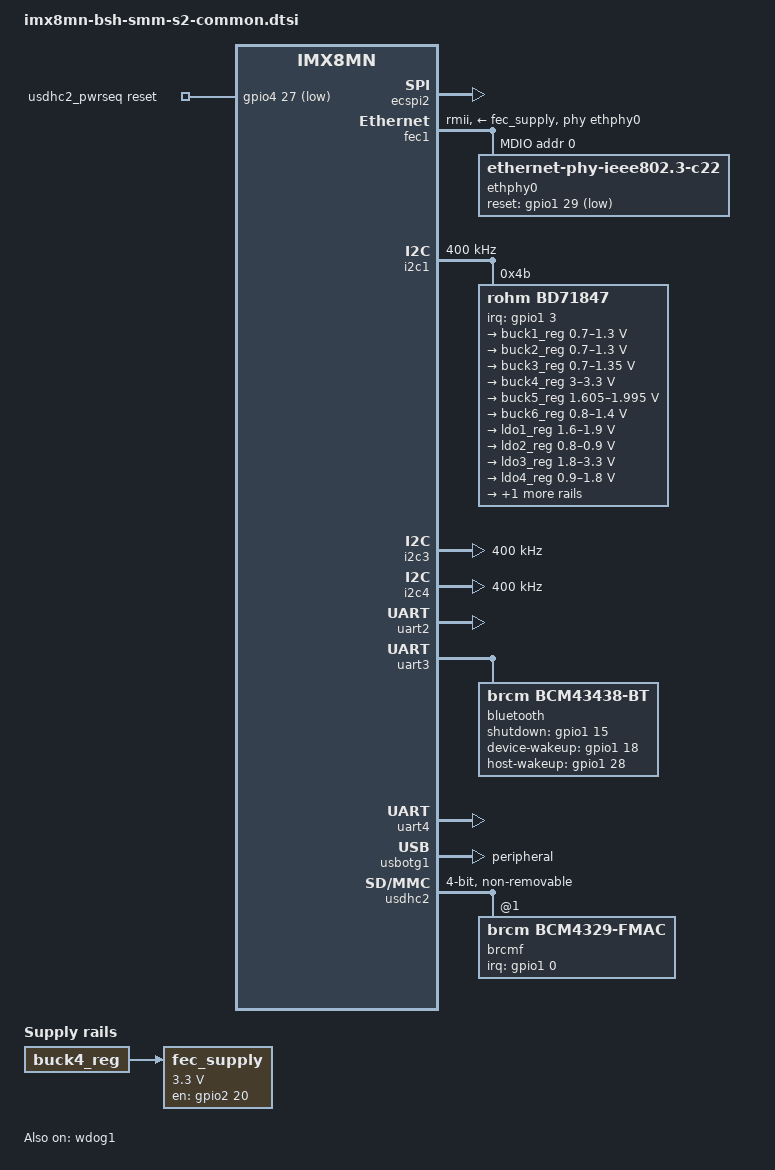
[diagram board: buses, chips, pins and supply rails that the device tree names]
// SPDX-License-Identifier: GPL-2.0+
/*
 * Copyright 2021 Collabora Ltd.
 * Copyright 2021 BSH Hausgeraete GmbH
 */

/dts-v1/;

#include "imx8mn.dtsi"

/ {
	chosen {
		stdout-path = &uart4;
	};

	fec_supply: fec-supply-en {
		compatible = "regulator-fixed";
		vin-supply = <&buck4_reg>;
		regulator-name = "tja1101_en";
		regulator-min-microvolt = <3300000>;
		regulator-max-microvolt = <3300000>;
		gpio = <&gpio2 20 GPIO_ACTIVE_HIGH>;
		enable-active-high;
	};

	usdhc2_pwrseq: usdhc2-pwrseq {
		compatible = "mmc-pwrseq-simple";
		pinctrl-names = "default";
		pinctrl-0 = <&pinctrl_usdhc2_pwrseq>;
		reset-gpios = <&gpio4 27 GPIO_ACTIVE_LOW>;
	};
};

&A53_0 {
	cpu-supply = <&buck2_reg>;
};

&A53_1 {
	cpu-supply = <&buck2_reg>;
};

&A53_2 {
	cpu-supply = <&buck2_reg>;
};

&A53_3 {
	cpu-supply = <&buck2_reg>;
};

&ecspi2 {
	pinctrl-names = "default";
	pinctrl-0 = <&pinctrl_espi2>;
	status = "okay";
};

&fec1 {
	pinctrl-names = "default";
	pinctrl-0 = <&pinctrl_fec1>;
	phy-mode = "rmii";
	phy-handle = <&ethphy0>;
	phy-supply = <&fec_supply>;
	fsl,magic-packet;
	status = "okay";

	mdio {
		#address-cells = <1>;
		#size-cells = <0>;

		ethphy0: ethernet-phy@0 {
			compatible = "ethernet-phy-ieee802.3-c22";
			reg = <0>;
			reset-gpios = <&gpio1 29 GPIO_ACTIVE_LOW>;
			reset-assert-us = <20>;
			reset-deassert-us = <2000>;
		};
	};
};

&i2c1 {
	clock-frequency = <400000>;
	pinctrl-names = "default";
	pinctrl-0 = <&pinctrl_i2c1>;
	status = "okay";

	bd71847: pmic@4b {
		compatible = "rohm,bd71847";
		reg = <0x4b>;
		pinctrl-names = "default";
		pinctrl-0 = <&pinctrl_pmic>;
		interrupt-parent = <&gpio1>;
		interrupts = <3 IRQ_TYPE_LEVEL_LOW>;
		rohm,reset-snvs-powered;

		#clock-cells = <0>;
		clocks = <&osc_32k 0>;
		clock-output-names = "clk-32k-out";

		regulators {
			buck1_reg: BUCK1 {
				/* PMIC_BUCK1 - VDD_SOC */
				regulator-name = "buck1";
				regulator-min-microvolt = <700000>;
				regulator-max-microvolt = <1300000>;
				regulator-boot-on;
				regulator-always-on;
				regulator-ramp-delay = <1250>;
			};

			buck2_reg: BUCK2 {
				/* PMIC_BUCK2 - VDD_ARM */
				regulator-name = "buck2";
				regulator-min-microvolt = <700000>;
				regulator-max-microvolt = <1300000>;
				regulator-boot-on;
				regulator-always-on;
				regulator-ramp-delay = <1250>;
			};

			buck3_reg: BUCK3 {
				/* PMIC_BUCK5 - VDD_DRAM_VPU_GPU */
				regulator-name = "buck3";
				regulator-min-microvolt = <700000>;
				regulator-max-microvolt = <1350000>;
				regulator-boot-on;
				regulator-always-on;
			};

			buck4_reg: BUCK4 {
				/* PMIC_BUCK6 - VDD_3V3 */
				regulator-name = "buck4";
				regulator-min-microvolt = <3000000>;
				regulator-max-microvolt = <3300000>;
				regulator-boot-on;
				regulator-always-on;
			};

			buck5_reg: BUCK5 {
				/* PMIC_BUCK7 - VDD_1V8 */
				regulator-name = "buck5";
				regulator-min-microvolt = <1605000>;
				regulator-max-microvolt = <1995000>;
				regulator-boot-on;
				regulator-always-on;
			};

			buck6_reg: BUCK6 {
				/* PMIC_BUCK8 - NVCC_DRAM */
				regulator-name = "buck6";
				regulator-min-microvolt = <800000>;
				regulator-max-microvolt = <1400000>;
				regulator-boot-on;
				regulator-always-on;
			};

			ldo1_reg: LDO1 {
				/* PMIC_LDO1 - NVCC_SNVS_1V8 */
				regulator-name = "ldo1";
				regulator-min-microvolt = <1600000>;
				regulator-max-microvolt = <1900000>;
				regulator-boot-on;
				regulator-always-on;
			};

			ldo2_reg: LDO2 {
				/* PMIC_LDO2 - VDD_SNVS_0V8 */
				regulator-name = "ldo2";
				regulator-min-microvolt = <800000>;
				regulator-max-microvolt = <900000>;
				regulator-boot-on;
				regulator-always-on;
			};

			ldo3_reg: LDO3 {
				/* PMIC_LDO3 - VDDA_1V8 */
				regulator-name = "ldo3";
				regulator-min-microvolt = <1800000>;
				regulator-max-microvolt = <3300000>;
				regulator-boot-on;
				regulator-always-on;
			};

			ldo4_reg: LDO4 {
				/* PMIC_LDO4 - VDD_MIPI_0V9 */
				regulator-name = "ldo4";
				regulator-min-microvolt = <900000>;
				regulator-max-microvolt = <1800000>;
				regulator-boot-on;
				regulator-always-on;
			};

			ldo6_reg: LDO6 {
				/* PMIC_LDO6 - VDD_MIPI_1V2 */
				regulator-name = "ldo6";
				regulator-min-microvolt = <900000>;
				regulator-max-microvolt = <1800000>;
				regulator-boot-on;
				regulator-always-on;
			};
		};
	};
};

&i2c3 {
	clock-frequency = <400000>;
	pinctrl-names = "default";
	pinctrl-0 = <&pinctrl_i2c3>;
	status = "okay";
};

&i2c4 {
	clock-frequency = <400000>;
	pinctrl-names = "default";
	pinctrl-0 = <&pinctrl_i2c4>;
	status = "okay";
};

&uart2 {
	pinctrl-names = "default";
	pinctrl-0 = <&pinctrl_uart2>;
	status = "okay";
};

&uart3 {
	pinctrl-names = "default";
	pinctrl-0 = <&pinctrl_uart3>;
	assigned-clocks = <&clk IMX8MN_CLK_UART3>;
	assigned-clock-parents = <&clk IMX8MN_SYS_PLL1_80M>;
	uart-has-rtscts;
	status = "okay";

	bluetooth {
		compatible = "brcm,bcm43438-bt";
		pinctrl-names = "default";
		pinctrl-0 = <&pinctrl_bluetooth>;
		shutdown-gpios = <&gpio1 15 GPIO_ACTIVE_HIGH>;
		device-wakeup-gpios = <&gpio1 18 GPIO_ACTIVE_HIGH>;
		host-wakeup-gpios = <&gpio1 28 GPIO_ACTIVE_HIGH>;
		max-speed = <3000000>;
	};
};

/* Console */
&uart4 {
	pinctrl-names = "default";
	pinctrl-0 = <&pinctrl_uart4>;
	status = "okay";
};

&usbotg1 {
	dr_mode = "peripheral";
	disable-over-current;
	status = "okay";
};

&usdhc2 {
	#address-cells = <1>;
	#size-cells = <0>;
	pinctrl-names = "default", "state_100mhz", "state_200mhz";
	pinctrl-0 = <&pinctrl_usdhc2>;
	pinctrl-1 = <&pinctrl_usdhc2_100mhz>;
	pinctrl-2 = <&pinctrl_usdhc2_200mhz>;
	mmc-pwrseq = <&usdhc2_pwrseq>;
	bus-width = <4>;
	non-removable;
	status = "okay";

	brcmf: bcrmf@1 {
		compatible = "brcm,bcm4329-fmac";
		reg = <1>;
		pinctrl-names = "default";
		pinctrl-0 = <&pinctrl_wlan>;
		interrupt-parent = <&gpio1>;
		interrupts = <0 IRQ_TYPE_LEVEL_HIGH>;
		interrupt-names = "host-wake";
	};
};

&wdog1 {
	pinctrl-names = "default";
	pinctrl-0 = <&pinctrl_wdog>;
	fsl,ext-reset-output;
	status = "okay";
};

&iomuxc {
	pinctrl_bluetooth: bluetoothgrp {
		fsl,pins = <
			MX8MN_IOMUXC_GPIO1_IO15_GPIO1_IO15		0x044	/* BT_REG_ON */
			MX8MN_IOMUXC_ENET_TD3_GPIO1_IO18		0x046	/* BT_DEV_WAKE */
			MX8MN_IOMUXC_ENET_RD2_GPIO1_IO28		0x090	/* BT_HOST_WAKE */
		>;
	};

	pinctrl_espi2: espi2grp {
		fsl,pins = <
			MX8MN_IOMUXC_ECSPI2_SCLK_ECSPI2_SCLK		0x082
			MX8MN_IOMUXC_ECSPI2_MOSI_ECSPI2_MOSI		0x082
			MX8MN_IOMUXC_ECSPI2_MISO_ECSPI2_MISO		0x082
			MX8MN_IOMUXC_ECSPI2_SS0_ECSPI2_SS0		0x040
		>;
	};

	pinctrl_fec1: fec1grp {
		fsl,pins = <
			MX8MN_IOMUXC_ENET_MDC_ENET1_MDC			0x002
			MX8MN_IOMUXC_ENET_MDIO_ENET1_MDIO		0x002
			MX8MN_IOMUXC_ENET_RD0_ENET1_RGMII_RD0		0x090
			MX8MN_IOMUXC_ENET_RD1_ENET1_RGMII_RD1		0x090
			MX8MN_IOMUXC_ENET_RXC_ENET1_RX_ER		0x090
			MX8MN_IOMUXC_ENET_TD0_ENET1_RGMII_TD0		0x016
			MX8MN_IOMUXC_ENET_TD1_ENET1_RGMII_TD1		0x016
			MX8MN_IOMUXC_ENET_TD2_ENET1_TX_CLK		0x016
			MX8MN_IOMUXC_ENET_TX_CTL_ENET1_RGMII_TX_CTL	0x016
			MX8MN_IOMUXC_ENET_RX_CTL_ENET1_RGMII_RX_CTL	0x090
			MX8MN_IOMUXC_ENET_TXC_ENET1_TX_ER		0x016
			MX8MN_IOMUXC_SD2_CD_B_GPIO2_IO12		0x150	/* RMII_INT - ENET_INT */
			MX8MN_IOMUXC_SD2_WP_GPIO2_IO20			0x150	/* RMII_EN - ENET_EN */
			MX8MN_IOMUXC_SD2_RESET_B_GPIO2_IO19		0x016	/* RMII_WAKE - GPIO_ENET_WAKE */
			MX8MN_IOMUXC_ENET_RD3_GPIO1_IO29		0x016	/* RMII_RESET - GPIO_ENET_RST */
		>;
	};

	pinctrl_i2c1: i2c1grp {
		fsl,pins = <
			MX8MN_IOMUXC_I2C1_SCL_I2C1_SCL			0x400000c2
			MX8MN_IOMUXC_I2C1_SDA_I2C1_SDA			0x400000c2
		>;
	};

	pinctrl_i2c3: i2c3grp {
		fsl,pins = <
			MX8MN_IOMUXC_I2C3_SCL_I2C3_SCL			0x400000c2
			MX8MN_IOMUXC_I2C3_SDA_I2C3_SDA			0x400000c2
		>;
	};

	pinctrl_i2c4: i2c4grp {
		fsl,pins = <
			MX8MN_IOMUXC_I2C4_SCL_I2C4_SCL			0x400000c2
			MX8MN_IOMUXC_I2C4_SDA_I2C4_SDA			0x400000c2
		>;
	};

	pinctrl_pmic: pmicirq {
		fsl,pins = <
			MX8MN_IOMUXC_GPIO1_IO03_GPIO1_IO3		0x040
		>;
	};

	pinctrl_uart2: uart2grp {
		fsl,pins = <
			MX8MN_IOMUXC_UART2_RXD_UART2_DCE_RX		0x040
			MX8MN_IOMUXC_UART2_TXD_UART2_DCE_TX		0x040
		>;
	};

	pinctrl_uart3: uart3grp {
		fsl,pins = <
			MX8MN_IOMUXC_UART3_TXD_UART3_DCE_TX		0x040
			MX8MN_IOMUXC_UART3_RXD_UART3_DCE_RX		0x040
			MX8MN_IOMUXC_ECSPI1_MISO_UART3_DCE_CTS_B	0x040
			MX8MN_IOMUXC_ECSPI1_SS0_UART3_DCE_RTS_B		0x040
		>;
	};

	pinctrl_uart4: uart4grp {
		fsl,pins = <
			MX8MN_IOMUXC_UART4_RXD_UART4_DCE_RX		0x040
			MX8MN_IOMUXC_UART4_TXD_UART4_DCE_TX		0x040
		>;
	};

	pinctrl_usdhc2: usdhc2grp {
		fsl,pins = <
			MX8MN_IOMUXC_SD2_CLK_USDHC2_CLK			0x090
			MX8MN_IOMUXC_SD2_CMD_USDHC2_CMD			0x0d0
			MX8MN_IOMUXC_SD2_DATA0_USDHC2_DATA0		0x0d0
			MX8MN_IOMUXC_SD2_DATA1_USDHC2_DATA1		0x0d0
			MX8MN_IOMUXC_SD2_DATA2_USDHC2_DATA2		0x0d0
			MX8MN_IOMUXC_SD2_DATA3_USDHC2_DATA3		0x0d0
		>;
	};

	pinctrl_usdhc2_100mhz: usdhc2grp100mhz {
		fsl,pins = <
			MX8MN_IOMUXC_SD2_CLK_USDHC2_CLK			0x094
			MX8MN_IOMUXC_SD2_CMD_USDHC2_CMD			0x0d4
			MX8MN_IOMUXC_SD2_DATA0_USDHC2_DATA0		0x0d4
			MX8MN_IOMUXC_SD2_DATA1_USDHC2_DATA1		0x0d4
			MX8MN_IOMUXC_SD2_DATA2_USDHC2_DATA2		0x0d4
			MX8MN_IOMUXC_SD2_DATA3_USDHC2_DATA3		0x0d4
		>;
	};

	pinctrl_usdhc2_200mhz: usdhc2grp200mhz {
		fsl,pins = <
			MX8MN_IOMUXC_SD2_CLK_USDHC2_CLK			0x096
			MX8MN_IOMUXC_SD2_CMD_USDHC2_CMD			0x0d6
			MX8MN_IOMUXC_SD2_DATA0_USDHC2_DATA0		0x0d6
			MX8MN_IOMUXC_SD2_DATA1_USDHC2_DATA1		0x0d6
			MX8MN_IOMUXC_SD2_DATA2_USDHC2_DATA2		0x0d6
			MX8MN_IOMUXC_SD2_DATA3_USDHC2_DATA3		0x0d6
		>;
	};

	pinctrl_usdhc2_pwrseq: usdhc2pwrseqgrp {
		fsl,pins = <
			MX8MN_IOMUXC_SAI2_MCLK_GPIO4_IO27		0x040	/* WL_REG_ON */
		>;
	};

	pinctrl_wdog: wdoggrp {
		fsl,pins = <
			MX8MN_IOMUXC_GPIO1_IO02_WDOG1_WDOG_B		0x046
		>;
	};

	pinctrl_wlan: wlangrp {
		fsl,pins = <
			MX8MN_IOMUXC_GPIO1_IO00_GPIO1_IO0		0x0d6	/* GPIO_0 - WIFI_GPIO_0 */
			MX8MN_IOMUXC_GPIO1_IO08_GPIO1_IO8		0x0d6	/* GPIO_1 - WIFI_GPIO_1 */
			MX8MN_IOMUXC_GPIO1_IO04_GPIO1_IO4		0x0d6	/* BT_GPIO_5 - WIFI_GPIO_5 */
			MX8MN_IOMUXC_SPDIF_RX_GPIO5_IO4			0x0d6	/* I2S_CLK - WIFI_GPIO_6 */
		>;
	};
};
